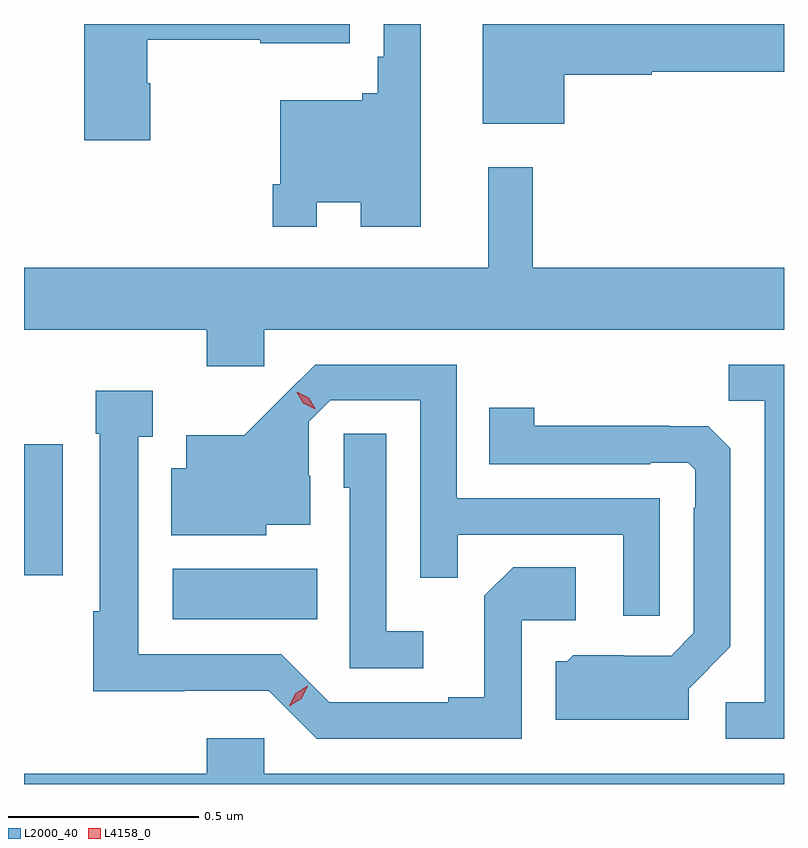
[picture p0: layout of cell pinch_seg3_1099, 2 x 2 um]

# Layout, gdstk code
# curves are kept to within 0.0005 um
import gdstk
lib = gdstk.Library(unit=1e-6, precision=1e-09)
def R(c, l, rs):  # rectangles x0, y0, x1, y1
    for r in rs: c.add(gdstk.rectangle(r[:2], r[2:], *l))
def P(c, l, *ps):  # polygons
    for p in ps: c.add(gdstk.Polygon(p, *l))
L2000_40 = (2000, 40)
L4158_0 = (4158, 0)

pinch_seg3_1099 = lib.new_cell('pinch_seg3_1099')
R(pinch_seg3_1099, L2000_40, [(324.744,670.85,325.124,670.984), (324.352,670.967,324.454,671.311)])
P(pinch_seg3_1099, L2000_40, [(325.122,671.948),(325.238,671.948),(325.238,671.883),(325.396,671.883),(325.396,672.417),(325.299,672.417),(325.299,672.331),(325.283,672.331),(325.283,672.235),(325.242,672.235),(325.242,672.217),(325.026,672.217),(325.026,671.995),(325.006,671.995),(325.006,671.883),(325.122,671.883)],
  [(324.684,672.261),(324.676,672.261),(324.676,672.376),(324.974,672.376),(324.974,672.366),(325.209,672.366),(325.209,672.417),(324.511,672.417),(324.511,672.111),(324.684,672.111)],
  [(325.774,672.284),(326.004,672.284),(326.004,672.292),(326.352,672.292),(326.352,672.417),(325.559,672.417),(325.559,672.155),(325.774,672.155)],
  [(324.984,671.612),(326.352,671.612),(326.352,671.776),(325.691,671.776),(325.691,672.04),(325.574,672.04),(325.574,671.776),(324.352,671.776),(324.352,671.612),(324.833,671.612),(324.833,671.517),(324.984,671.517)],
  [(326.025,671.169),(325.491,671.169),(325.491,671.52),(325.118,671.52),(324.931,671.335),(324.779,671.335),(324.779,671.248),(324.74,671.248),(324.74,671.072),(324.99,671.072),(324.99,671.099),(325.105,671.099),(325.105,671.228),(325.101,671.228),(325.101,671.37),(325.158,671.427),(325.395,671.427),(325.395,670.96),(325.493,670.96),(325.493,671.073),(325.929,671.073),(325.929,670.86),(326.025,670.86)],
  [(326.352,671.52),(326.206,671.52),(326.206,671.425),(326.301,671.425),(326.301,670.632),(326.199,670.632),(326.199,670.536),(326.352,670.536)],
  [(325.662,670.848),(325.804,670.848),(325.804,670.988),(325.639,670.988),(325.563,670.912),(325.563,670.645),(325.469,670.645),(325.469,670.632),(325.155,670.632),(325.029,670.758),(324.652,670.758),(324.652,671.331),(324.691,671.331),(324.691,671.452),(324.541,671.452),(324.541,671.339),(324.551,671.339),(324.551,670.871),(324.534,670.871),(324.534,670.661),(324.774,670.661),(324.774,670.662),(324.996,670.662),(325.122,670.536),(325.662,670.536)],
  [(326.101,670.668),(326.211,670.778),(326.211,671.3),(326.152,671.359),(326.051,671.359),(326.051,671.36),(325.695,671.36),(325.695,671.407),(325.576,671.407),(325.576,671.259),(326,671.259),(326,671.262),(326.1,671.262),(326.118,671.244),(326.118,671.144),(326.115,671.144),(326.115,670.815),(326.055,670.755),(325.932,670.755),(325.932,670.756),(325.798,670.756),(325.782,670.74),(325.751,670.74),(325.751,670.586),(326.101,670.586)],
  [(325.402,670.819),(325.305,670.819),(325.305,671.339),(325.194,671.339),(325.194,671.196),(325.209,671.196),(325.209,670.722),(325.402,670.722)],
  [(326.352,670.444),(324.984,670.444),(324.984,670.537),(324.833,670.537),(324.833,670.444),(324.352,670.444),(324.352,670.417),(326.352,670.417)])
P(pinch_seg3_1099, L4158_0, [(325.118,671.403),(325.087,671.419),(325.07,671.448),(325.07,671.449),(325.07,671.449),(325.101,671.433),(325.118,671.404),(325.118,671.403)],
  [(325.05,670.622),(325.05,670.623),(325.067,670.656),(325.099,670.675),(325.099,670.675),(325.099,670.674),(325.082,670.642),(325.05,670.622)])

lib.write_gds('pinch_seg3_1099.gds')
